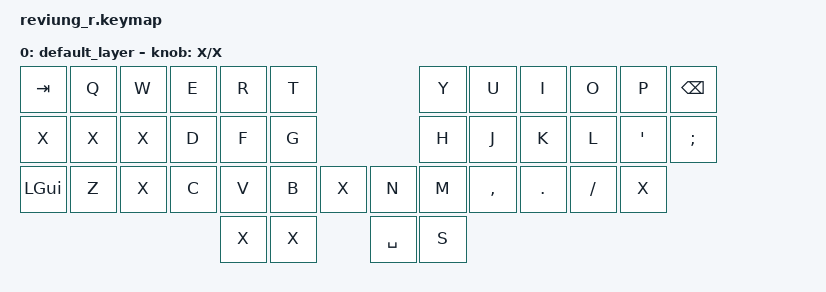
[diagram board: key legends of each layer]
/*
 * Copyright (c) 2020 The ZMK Contributors
 *
 * SPDX-License-Identifier: MIT
 */

#include <behaviors.dtsi>
#include <dt-bindings/zmk/keys.h>
#include <dt-bindings/zmk/bt.h>
#include <dt-bindings/zmk/rgb.h>

/ {
        sensors {
		compatible = "zmk,keymap-sensors";
		sensors = <&encoder_1>;
                };

        keymap {
                compatible = "zmk,keymap";

                default_layer {
                        
                        sensor-bindings = <&inc_dec_kp X X>;

                        bindings = <
   &kp TAB       &kp Q      &kp W       &kp E &kp R &kp T           &kp Y &kp U  &kp I     &kp O   &kp P    &kp BSPC
   &kp X         &kp X      &kp X       &kp D &kp F &kp G           &kp H &kp J  &kp K     &kp L   &kp SQT &kp SEMI
   &kp LGUI      &kp Z      &kp X       &kp C &kp V &kp B &kp X &kp N &kp M  &kp COMMA &kp DOT &kp FSLH &kp X
                                                 &kp X &kp X &kp SPACE &kp S
                        >;
                };  
        };
};
